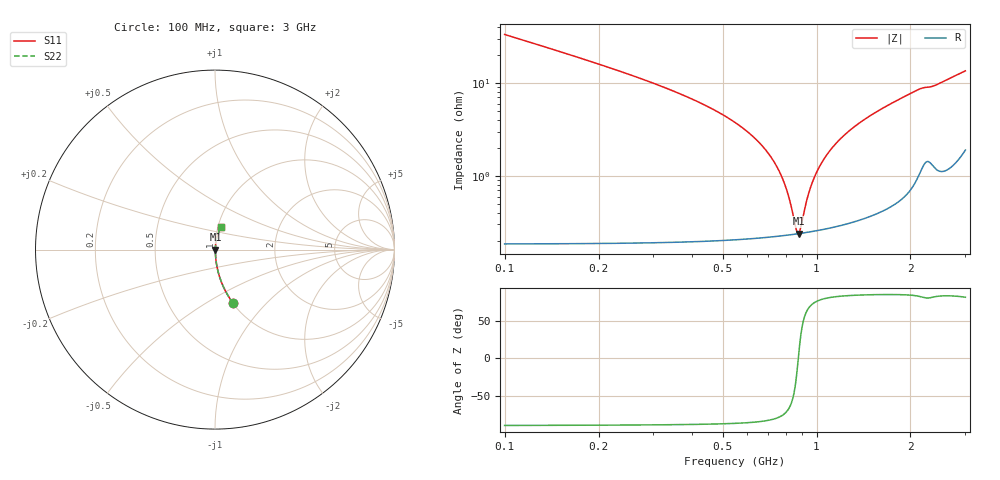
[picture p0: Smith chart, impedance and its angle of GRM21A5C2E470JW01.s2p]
!Murata Part Number: GRM21A5C2E470JW01
!These Parameters are Measured in Series Mode Connection
!Data Generated on Mar 30, 2021
!  o--ll--o
!Port1  Port2
!  o------o
!Operation Temp=25[degC], DC Bias Voltage=0[V]
!Freq. Start=100[MHz] Stop=3[GHz] 401[Steps]
# Hz S RI R 50
!Freq.(Hz) S11(Real) S11(Imag) S21(Real) S21(Imag) S12(Real) S12(Imag) S22(Real) S22(Imag)
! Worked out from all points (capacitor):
!   401 points, 100 MHz to 3 GHz, reference 50 ohm
!   read as one part in series: C = 47 pF near 114.5 MHz
!   lowest |Z| = 240 mohm at 875.8 MHz (marker M1)
!   series resonance near 873.9 MHz, so ESL is about 710 pH
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1e8  0.1018 -0.2996  0.8982 0.2996  0.8982 0.2996  0.1018 -0.2996
1.6525e8  0.0393 -0.1895  0.9607 0.1895  0.9607 0.1895  0.0393 -0.1895
2.5225e8  0.0167 -0.1209  0.9833 0.1209  0.9833 0.1209  0.0167 -0.1209
3.8275e8  0.00701 -0.071  0.993 0.071  0.993 0.071  0.00701 -0.071
5.8575e8  0.00309 -0.0318  0.9969 0.0318  0.9969 0.0318  0.00309 -0.0318
6.8e8  0.00255 -0.0197  0.9975 0.0197  0.9975 0.0197  0.00255 -0.0197
7.525e8  0.00237 -0.0117  0.9976 0.0117  0.9976 0.0117  0.00237 -0.0117
8.0325e8  0.00234 -0.00656  0.9977 0.00656  0.9977 0.00656  0.00234 -0.00656
8.6125e8  0.00237 -0.00113  0.9976 0.00113  0.9976 0.00113  0.00237 -0.00113
8.7575e8  0.00238 0.000168  0.9976 -0.000168  0.9976 -0.000168  0.00238 0.000168
8.9025e8  0.00241 0.00145  0.9976 -0.00145  0.9976 -0.00145  0.00241 0.00145
9.3375e8  0.00249 0.00517  0.9975 -0.00517  0.9975 -0.00517  0.00249 0.00517
9.7e8  0.00258 0.00816  0.9974 -0.00816  0.9974 -0.00816  0.00258 0.00816
1.0135e9  0.00272 0.0116  0.9973 -0.0116  0.9973 -0.0116  0.00272 0.0116
1.0715e9  0.00294 0.0161  0.9971 -0.0161  0.9971 -0.0161  0.00294 0.0161
1.1585e9  0.00334 0.0224  0.9967 -0.0224  0.9967 -0.0224  0.00334 0.0224
1.26e9  0.00392 0.0294  0.9961 -0.0294  0.9961 -0.0294  0.00392 0.0294
1.3905e9  0.00482 0.038  0.9952 -0.038  0.9952 -0.038  0.00482 0.038
1.55e9  0.00618 0.048  0.9938 -0.048  0.9938 -0.048  0.00618 0.048
2.03575e9  0.0137 0.0777  0.9863 -0.0777  0.9863 -0.0777  0.0137 0.0777
2.5215e9  0.0209 0.0984  0.9791 -0.0984  0.9791 -0.0984  0.0209 0.0984
3e9  0.0354 0.1271  0.9646 -0.1271  0.9646 -0.1271  0.0354 0.1271
